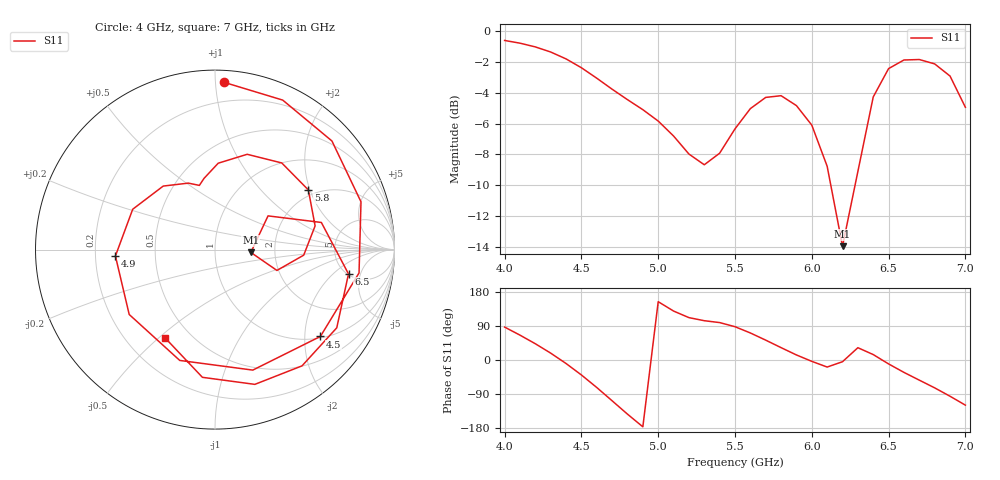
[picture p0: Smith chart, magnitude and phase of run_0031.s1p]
! Touchstone file exported from HFSS 2024.2.0
!  File:  C:/Users/wsak9/Desktop/Sim Fast/Widenad Patch/WP_AI_V1_sweep.aedt
!  Generated:  04:03:53 PM Oct 13, 2026
!  Design:  A1_model
!  Project:  WP_AI_V1_sweep
!  Setup:  Setup1
!  Solution:  Sweep
! Variables:
!  Air_gap = 1.63mm
!  Curve_Amp1 = 2.81
!  Curve_len1 = 1
!  Curve_pos = 9.865mm
!  Extra = 3.97mm
!  H_sub = 0.79mm
!  L_Patch = 15.73mm
!  L_Patch1 = 17.36mm
!  Sx = 1.77mm
!  Sy = 4.25mm
!  WS = 1.4mm
!  W_Patch = 14.03mm
!  W_Patch1 = 13.39mm
!Data is not renormalized
# GHz S MA
! Terminal data exported
! Port[1] = 1
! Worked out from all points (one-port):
!   31 points, 4 GHz to 7 GHz, reference per port
!   lowest |S11| = -14.0 dB at 6.2 GHz (marker M1), VSWR 1.50
!   |S11| at or under -10 dB: 6.124 GHz to 6.282 GHz (158.2 MHz wide, 2.55 % of centre)
!   S11 on the Smith chart (normalised r, x): 4 GHz: 0.07, +1.05; 4.5 GHz: 1.04, -2.39; 4.9 GHz: 0.29, -0.03; 5.8 GHz: 1.82, +1.95; 6.5 GHz: 5.10, -3.23; 7 GHz: 0.36, -0.53
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4  0.9332 86.9
4.1  0.9144 65.6
4.2  0.8892 42.9
4.3  0.8559 18.1
4.4  0.8129 -9.2
4.5  0.7609 -39.5
4.6  0.7036 -72.6
4.7  0.648 -107.6
4.8  0.5993 -142.9
4.9  0.556 -176.3
5  0.5106 153.9
5.1  0.4566 129.2
5.2  0.399 111.8
5.3  0.3682 103.7
5.5  0.4817 87.9
5.7  0.6095 52.4
5.8  0.6173 32.6
5.9  0.5732 13.3
6.1  0.3641 -18.6
6.2  0.2003 -4.5
6.3  0.3502 32.4
6.4  0.6116 14.3
6.5  0.7561 -10.3
6.6  0.8063 -32.7
6.7  0.8091 -53.2
6.8  0.783 -73.5
6.9  0.715 -95.6
7  0.566 -119.2
